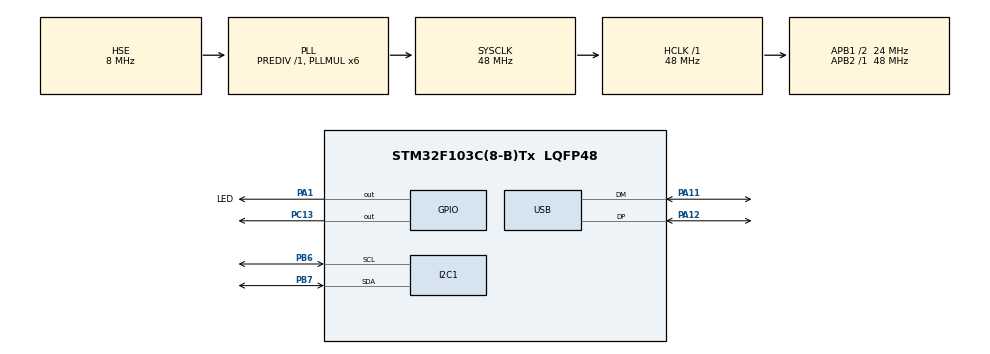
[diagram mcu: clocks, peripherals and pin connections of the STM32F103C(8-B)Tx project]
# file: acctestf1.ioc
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I2C1.I2C_Mode=I2C_Standard
Mcu.Family=STM32F1
Mcu.Name=STM32F103C(8-B)Tx
Mcu.Package=LQFP48
NVIC.PriorityGroup=NVIC_PRIORITYGROUP_4
NVIC.USB_LP_CAN1_RX0_IRQn=true\:0\:0\:false\:false\:true\:false\:true
PA1.GPIO_Label=LED
PA1.Signal=GPIO_Output
PA11.Mode=Device
PA11.Signal=USB_DM
PA12.Mode=Device
PA12.Signal=USB_DP
PA13.Mode=Serial_Wire
PA13.Signal=SYS_JTMS-SWDIO
PA14.Mode=Serial_Wire
PA14.Signal=SYS_JTCK-SWCLK
PB6.Mode=I2C
PB6.Signal=I2C1_SCL
PB7.Mode=I2C
PB7.Signal=I2C1_SDA
PC13-TAMPER-RTC.PinState=GPIO_PIN_SET
PC13-TAMPER-RTC.Signal=GPIO_Output
PC14-OSC32_IN.Mode=LSE-External-Oscillator
PC14-OSC32_IN.Signal=RCC_OSC32_IN
PC15-OSC32_OUT.Mode=LSE-External-Oscillator
PC15-OSC32_OUT.Signal=RCC_OSC32_OUT
PD0-OSC_IN.Mode=HSE-External-Oscillator
PD0-OSC_IN.Signal=RCC_OSC_IN
PD1-OSC_OUT.Mode=HSE-External-Oscillator
PD1-OSC_OUT.Signal=RCC_OSC_OUT
ProjectManager.HeapSize=0x200
ProjectManager.StackSize=0x400
ProjectManager.TargetToolchain=SW4STM32
RCC.AHBFreq_Value=48000000
RCC.APB1CLKDivider=RCC_HCLK_DIV2
RCC.APB1Freq_Value=24000000
RCC.APB1TimFreq_Value=48000000
RCC.APB2Freq_Value=48000000
RCC.APB2TimFreq_Value=48000000
RCC.EnbaleCSS=true
RCC.HCLKFreq_Value=48000000
RCC.PLLMUL=RCC_PLL_MUL6
RCC.PLLSourceVirtual=RCC_PLLSOURCE_HSE
RCC.SYSCLKFreq_VALUE=48000000
RCC.SYSCLKSource=RCC_SYSCLKSOURCE_PLLCLK
RCC.USBFreq_Value=48000000
USB_DEVICE.CLASS_NAME_FS=CDC
USB_DEVICE.VirtualMode=Cdc
USB_DEVICE.VirtualModeFS=Cdc_FS
VP_USB_DEVICE_VS_USB_DEVICE_CDC_FS.Mode=CDC_FS
board=custom

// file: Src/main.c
/* USER CODE BEGIN Header */
/**
  ******************************************************************************
  * @file           : main.c
  * @brief          : Main program body
  ******************************************************************************
  * @attention
  *
  * <h2><center>&copy; Copyright (c) 2020 STMicroelectronics.
  * All rights reserved.</center></h2>
  *
  * This software component is licensed by ST under BSD 3-Clause license,
  * the "License"; You may not use this file except in compliance with the
  * License. You may obtain a copy of the License at:
  *                        opensource.org/licenses/BSD-3-Clause
  *
  ******************************************************************************
  */
/* USER CODE END Header */

#include "main.h"
#include "usb_device.h"

I2C_HandleTypeDef hi2c1;

void SystemClock_Config(void);
static void MX_GPIO_Init(void);
static void MX_I2C1_Init(void);

/* USER CODE BEGIN 0 */
#include <errno.h>
#include <sys/stat.h>
#include <sys/times.h>
#include <sys/unistd.h>

int _write(int file, char *ptr, int len) {
	uint8_t USBStatus;
    switch (file) {
    case STDOUT_FILENO: //stdout
    	USBStatus = CDC_Transmit_FS(ptr,len);
		if (USBStatus != USBD_OK) {
			errno = EIO;
			return -1;
		}
        break;
    case STDERR_FILENO: //stderr
    	USBStatus = CDC_Transmit_FS(ptr,len);
		if (USBStatus != USBD_OK) {
			errno = EIO;
			return -1;
		}
        break;
    default:
        errno = EBADF;
        return -1;
    }
    return len;
}
/* USER CODE END 0 */

int main(void)
{

  /* MCU Configuration--------------------------------------------------------*/

  /* Reset of all peripherals, Initializes the Flash interface and the Systick. */
  HAL_Init();

  /* Configure the system clock */
  SystemClock_Config();

  /* Initialize all configured peripherals */
  MX_GPIO_Init();
  MX_I2C1_Init();
  MX_USB_DEVICE_Init();
  /* USER CODE BEGIN 2 */
  uint8_t buffer[8];
  buffer[0] = 0x20;
  buffer[1] = 0b01000111;
  //HAL_StatusTypeDef status = HAL_BUSY;
  HAL_I2C_Master_Transmit(&hi2c1,0b0011001<<1,buffer,2,2000);
  //buffer[0] = 0b00000111;
  //HAL_I2C_Master_Transmit(&hi2c1,0b0011001<<1,buffer,1,500);
  /* USER CODE END 2 */

  /* Infinite loop */
  while (1)
  {

    /* USER CODE BEGIN 3 */
	  buffer[0] = 0b10101000;
	  //HAL_I2C_Mem_Read(&hi2c1,0b0011001<<1,0x2d,1,buffer,1,1000);
	  HAL_I2C_Master_Transmit(&hi2c1,0b0011001<<1,buffer,1,1000);
	  HAL_I2C_Master_Receive(&hi2c1,0b00110011,buffer,6,1000);
	  HAL_GPIO_TogglePin(GPIOA,GPIO_PIN_1);
	  int8_t x = buffer[1];
		/*if (x > 127){
			x = ~x;
			//printf("somthing is wrong")
		}*/
	  int8_t y = buffer[3];
	  int8_t z = buffer[5];
	  printf("x: %d g y: %d g z: %d g\r\n",x,y,z);
	  HAL_Delay(200);
  }
  /* USER CODE END 3 */
}

void SystemClock_Config(void)
{
  RCC_OscInitTypeDef RCC_OscInitStruct = {0};
  RCC_ClkInitTypeDef RCC_ClkInitStruct = {0};
  RCC_PeriphCLKInitTypeDef PeriphClkInit = {0};

  /** Initializes the CPU, AHB and APB busses clocks
  */
  RCC_OscInitStruct.OscillatorType = RCC_OSCILLATORTYPE_HSE;
  RCC_OscInitStruct.HSEState = RCC_HSE_ON;
  RCC_OscInitStruct.HSEPredivValue = RCC_HSE_PREDIV_DIV1;
  RCC_OscInitStruct.HSIState = RCC_HSI_ON;
  RCC_OscInitStruct.PLL.PLLState = RCC_PLL_ON;
  RCC_OscInitStruct.PLL.PLLSource = RCC_PLLSOURCE_HSE;
  RCC_OscInitStruct.PLL.PLLMUL = RCC_PLL_MUL6;
  if (HAL_RCC_OscConfig(&RCC_OscInitStruct) != HAL_OK)
  {
    Error_Handler();
  }
  /** Initializes the CPU, AHB and APB busses clocks
  */
  RCC_ClkInitStruct.ClockType = RCC_CLOCKTYPE_HCLK|RCC_CLOCKTYPE_SYSCLK
                              |RCC_CLOCKTYPE_PCLK1|RCC_CLOCKTYPE_PCLK2;
  RCC_ClkInitStruct.SYSCLKSource = RCC_SYSCLKSOURCE_PLLCLK;
  RCC_ClkInitStruct.AHBCLKDivider = RCC_SYSCLK_DIV1;
  RCC_ClkInitStruct.APB1CLKDivider = RCC_HCLK_DIV2;
  RCC_ClkInitStruct.APB2CLKDivider = RCC_HCLK_DIV1;

  if (HAL_RCC_ClockConfig(&RCC_ClkInitStruct, FLASH_LATENCY_1) != HAL_OK)
  {
    Error_Handler();
  }
  PeriphClkInit.PeriphClockSelection = RCC_PERIPHCLK_USB;
  PeriphClkInit.UsbClockSelection = RCC_USBCLKSOURCE_PLL;
  if (HAL_RCCEx_PeriphCLKConfig(&PeriphClkInit) != HAL_OK)
  {
    Error_Handler();
  }
  /** Enables the Clock Security System
  */
  HAL_RCC_EnableCSS();
}

static void MX_I2C1_Init(void)
{

  hi2c1.Instance = I2C1;
  hi2c1.Init.ClockSpeed = 100000;
  hi2c1.Init.DutyCycle = I2C_DUTYCYCLE_2;
  hi2c1.Init.OwnAddress1 = 0;
  hi2c1.Init.AddressingMode = I2C_ADDRESSINGMODE_7BIT;
  hi2c1.Init.DualAddressMode = I2C_DUALADDRESS_DISABLE;
  hi2c1.Init.OwnAddress2 = 0;
  hi2c1.Init.GeneralCallMode = I2C_GENERALCALL_DISABLE;
  hi2c1.Init.NoStretchMode = I2C_NOSTRETCH_DISABLE;
  if (HAL_I2C_Init(&hi2c1) != HAL_OK)
  {
    Error_Handler();
  }

}

static void MX_GPIO_Init(void)
{
  GPIO_InitTypeDef GPIO_InitStruct = {0};

  /* GPIO Ports Clock Enable */
  __HAL_RCC_GPIOC_CLK_ENABLE();
  __HAL_RCC_GPIOD_CLK_ENABLE();
  __HAL_RCC_GPIOA_CLK_ENABLE();
  __HAL_RCC_GPIOB_CLK_ENABLE();

  /*Configure GPIO pin Output Level */
  HAL_GPIO_WritePin(GPIOC, GPIO_PIN_13, GPIO_PIN_SET);

  /*Configure GPIO pin Output Level */
  HAL_GPIO_WritePin(LED_GPIO_Port, LED_Pin, GPIO_PIN_RESET);

  /*Configure GPIO pin : PC13 */
  GPIO_InitStruct.Pin = GPIO_PIN_13;
  GPIO_InitStruct.Mode = GPIO_MODE_OUTPUT_PP;
  GPIO_InitStruct.Pull = GPIO_NOPULL;
  GPIO_InitStruct.Speed = GPIO_SPEED_FREQ_LOW;
  HAL_GPIO_Init(GPIOC, &GPIO_InitStruct);

  /*Configure GPIO pin : LED_Pin */
  GPIO_InitStruct.Pin = LED_Pin;
  GPIO_InitStruct.Mode = GPIO_MODE_OUTPUT_PP;
  GPIO_InitStruct.Pull = GPIO_NOPULL;
  GPIO_InitStruct.Speed = GPIO_SPEED_FREQ_LOW;
  HAL_GPIO_Init(LED_GPIO_Port, &GPIO_InitStruct);

}

void Error_Handler(void)
{
}

/************************ (C) COPYRIGHT STMicroelectronics *****END OF FILE****/
